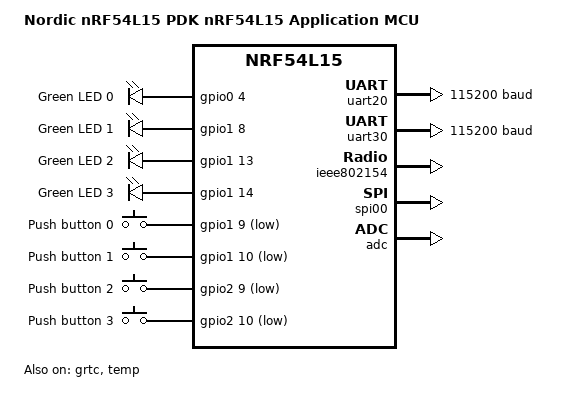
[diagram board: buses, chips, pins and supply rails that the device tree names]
/*
 * Copyright (c) 2024 Nordic Semiconductor ASA
 *
 * SPDX-License-Identifier: Apache-2.0
 */

/dts-v1/;
#include <nordic/nrf54l15_cpuapp.dtsi>
#include "nrf54l15pdk_nrf54l15_cpuapp-pinctrl.dtsi"
#include <zephyr/dt-bindings/input/input-event-codes.h>

/ {
	model = "Nordic nRF54L15 PDK nRF54L15 Application MCU";
	compatible = "nordic,nrf54l15pdk_nrf54l15-cpuapp";

	chosen {
		zephyr,console = &uart20;
		zephyr,shell-uart = &uart20;
		zephyr,uart-mcumgr = &uart20;
		zephyr,sram = &sram0;
		zephyr,flash = &rram0;
		zephyr,code-partition = &slot0_partition;
		zephyr,ieee802154 = &ieee802154;
	};

	leds {
		compatible = "gpio-leds";
		led0: led_0 {
			gpios = <&gpio0 4 GPIO_ACTIVE_HIGH>;
			label = "Green LED 0";
		};
		led1: led_1 {
			gpios = <&gpio1 8 GPIO_ACTIVE_HIGH>;
			label = "Green LED 1";
		};
		led2: led_2 {
			gpios = <&gpio1 13 GPIO_ACTIVE_HIGH>;
			label = "Green LED 2";
		};
		led3: led_3 {
			gpios = <&gpio1 14 GPIO_ACTIVE_HIGH>;
			label = "Green LED 3";
		};
	};

	buttons {
		compatible = "gpio-keys";
		button0: button_0 {
			gpios = <&gpio1 9 (GPIO_PULL_UP | GPIO_ACTIVE_LOW)>;
			label = "Push button 0";
			zephyr,code = <INPUT_KEY_0>;
		};
		button1: button_1 {
			gpios = <&gpio1 10 (GPIO_PULL_UP | GPIO_ACTIVE_LOW)>;
			label = "Push button 1";
			zephyr,code = <INPUT_KEY_1>;
		};
		button2: button_2 {
			gpios = <&gpio2 9 (GPIO_PULL_UP | GPIO_ACTIVE_LOW)>;
			label = "Push button 2";
			zephyr,code = <INPUT_KEY_2>;
		};
		button3: button_3 {
			gpios = <&gpio2 10 (GPIO_PULL_UP | GPIO_ACTIVE_LOW)>;
			label = "Push button 3";
			zephyr,code = <INPUT_KEY_3>;
		};
	};

	aliases {
		led0 = &led0;
		led1 = &led1;
		led2 = &led2;
		led3 = &led3;
		watchdog0 = &wdt30;
		sw0 = &button0;
		sw1 = &button1;
		sw2 = &button2;
		sw3 = &button3;
		spi-flash0 = &mx25r64;
	};
};

&lfxo {
	load-capacitors = "internal";
	load-capacitance-femtofarad = <15500>;
};

&hfxo {
	load-capacitors = "internal";
	load-capacitance-femtofarad = <15000>;
};

&uart20 {
	status = "okay";
	current-speed = <115200>;
	pinctrl-0 = <&uart20_default>;
	pinctrl-1 = <&uart20_sleep>;
	pinctrl-names = "default", "sleep";
	hw-flow-control;
};

&uart30 {
	current-speed = <115200>;
	pinctrl-0 = <&uart30_default>;
	pinctrl-1 = <&uart30_sleep>;
	pinctrl-names = "default", "sleep";
};

&grtc {
	status = "okay";
};

&gpio0 {
	status = "okay";
};

&gpio1 {
	status = "okay";
};

&gpio2 {
	status = "okay";
};

&gpiote20 {
	status = "okay";
};

&gpiote30 {
	status = "okay";
};

&ieee802154 {
	status = "okay";
};

&temp {
	status = "okay";
};

&rram0 {
	partitions {
		compatible = "fixed-partitions";
		#address-cells = <1>;
		#size-cells = <1>;
		boot_partition: partition@0 {
			label = "mcuboot";
			reg = <0x0 DT_SIZE_K(64)>;
		};
		slot0_partition: partition@10000 {
			label = "image-0";
			reg = <0x10000 DT_SIZE_K(348)>;
		};
		slot0_ns_partition: partition@67000 {
			label = "image-0-nonsecure";
			reg = <0x67000 DT_SIZE_K(348)>;
		};
		slot1_partition: partition@be000 {
			label = "image-1";
			reg = <0xbe000 DT_SIZE_K(348)>;
		};
		slot1_ns_partition: partition@115000 {
			label = "image-1-nonsecure";
			reg = <0x115000 DT_SIZE_K(348)>;
		};
		/* 32k from 0x16c000 to 0x173fff reserved for TF-M partitions */
		storage_partition: partition@174000 {
			label = "storage";
			reg = <0x174000 DT_SIZE_K(36)>;
		};
	};
};

&clock {
	status = "okay";
};

&spi00 {
	status = "okay";
	cs-gpios = <&gpio2 5 GPIO_ACTIVE_LOW>;
	pinctrl-0 = <&spi0_default>;
	pinctrl-1 = <&spi0_sleep>;
	pinctrl-names = "default", "sleep";

	mx25r64: mx25r6435f@0 {
		compatible = "jedec,spi-nor";
		reg = <0>;
		status = "disabled";
		spi-max-frequency = <8000000>;
		jedec-id = [c2 28 17];
		sfdp-bfp = [
			e5 20 f1 ff  ff ff ff 03  44 eb 08 6b  08 3b 04 bb
			ee ff ff ff  ff ff 00 ff  ff ff 00 ff  0c 20 0f 52
			10 d8 00 ff  23 72 f5 00  82 ed 04 cc  44 83 48 44
			30 b0 30 b0  f7 c4 d5 5c  00 be 29 ff  f0 d0 ff ff
		];
		size = <67108864>;
		has-dpd;
		t-enter-dpd = <10000>;
		t-exit-dpd = <35000>;
	};
};

&adc {
	status = "okay";
};
